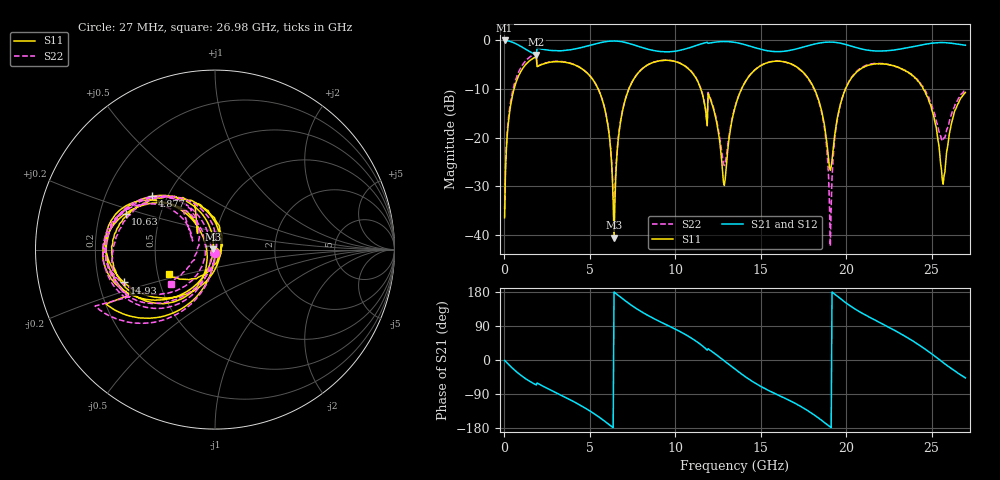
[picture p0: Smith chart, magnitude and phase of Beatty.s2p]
#  HZ  S  MA  R  50.00
! Rohde & Schwarz ZVA67 4Ports - Version 4.11 - 1305.7002k04 SN: 101051
! Date: 2023-05-24 11:00:48
! Measurements: S11 S21 S12 S22
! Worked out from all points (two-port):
!   540 points, 27 MHz to 26.98 GHz, reference 50 ohm
!   highest |S21| = 0.00 dB at 27 MHz (marker M1); lowest = -3.0 dB at 1.877 GHz (marker M2)
!   |S21| within 3 dB of the highest: start of sweep to end of sweep
!   lowest |S11| = -40.6 dB at 6.427 GHz (marker M3), VSWR 1.02, Z = 49.1 + j0.0869 ohm
!   |S11| at or under -10 dB: 5.503 GHz to 7.293 GHz (1.79 GHz wide, 28 % of centre); 11.5 GHz to 13.88 GHz (2.383 GHz wide, 18.8 % of centre); 24.52 GHz to end of sweep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
!   |S22| runs from -42.3 to -2.6 dB; largest |S21 - S12| = 0.093
!   S11 on the Smith chart (normalised r, x): 27 MHz: 1.00, -0.03; 4.877 GHz: 0.41, +0.31; 10.63 GHz: 0.31, +0.18; 14.93 GHz: 0.31, -0.16; 26.98 GHz: 0.57, -0.17
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2.7e7  0.01507 -90.5  0.9995 -1.1  0.9965 -1.6  0.01847 -94.3
5.27e8  0.292 -112.2  0.9525 -23.2  0.9515 -23.4  0.32 -112.9
1.877e9  0.6783 -153.5  0.7115 -65.7  0.7105 -66.2  0.7386 -154.8
4.527e9  0.5141 148.8  0.8461 -121.3  0.8439 -122.4  0.5164 148.8
4.877e9  0.4586 139.6  0.8765 -130.6  0.8739 -131.8  0.4598 140.3
5.927e9  0.1839 107.5  0.9708 -163.0  0.9689 -164.4  0.1845 114.6
6.427e9  0.009377 174.6  0.9865 179.4  0.9853 178.0  0.02175 -174.9
7.177e9  0.2787 -123.5  0.9448 153.1  0.9442 151.5  0.2813 -116.6
9.027e9  0.6143 -168.7  0.773 103.1  0.7707 101.1  0.6148 -166.7
1.0627e10  0.5371 158.1  0.8203 66.5  0.8175 64.2  0.5413 155.8
1.2077e10  0.245 106.5  0.9436 25.0  0.9414 22.0  0.2513 125.6
1.2877e10  0.03242 -9.4  0.9747 -2.4  0.9693 -5.3  0.05189 179.2
1.3527e10  0.2122 -110.5  0.953 -25.1  0.9474 -27.9  0.2151 -126.6
1.4927e10  0.5394 -160.2  0.8183 -67.5  0.8162 -70.4  0.541 -159.0
1.8027e10  0.3483 134.1  0.9066 -141.8  0.9061 -145.7  0.3428 123.2
1.8677e10  0.1526 127.2  0.9536 -163.0  0.9534 -167.0  0.145 96.2
1.9077e10  0.04628 -173.7  0.9621 -176.9  0.9624 178.6  0.007693 0.3
1.9977e10  0.3218 -123.2  0.9084 151.2  0.9083 146.9  0.3228 -125.2
2.2527e10  0.561 170.0  0.788 85.9  0.7853 80.5  0.5626 177.0
2.4677e10  0.2792 112.5  0.9162 26.9  0.9103 21.8  0.2947 123.1
2.5677e10  0.03337 -15.5  0.9512 -6.7  0.9462 -12.2  0.09574 171.0
2.6977e10  0.2916 -152.2  0.8924 -47.1  0.8881 -52.9  0.3131 -142.3
